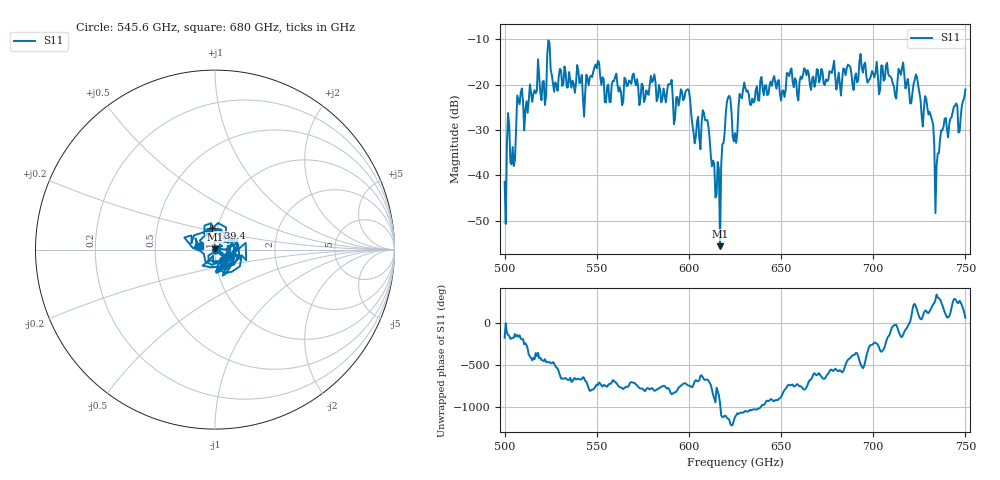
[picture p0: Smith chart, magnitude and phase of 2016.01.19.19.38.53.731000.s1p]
!Created with skrf (http://scikit-rf.org).
# GHz S RI R 50.0
!freq ReS11 ImS11
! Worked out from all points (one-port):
!   401 points, 500 GHz to 750 GHz, reference 50 ohm
!   lowest |S11| = -55.6 dB at 616.9 GHz (marker M1), VSWR 1.00, Z = 49.9 + j0.125 ohm
!   |S11| at or under -10 dB: start of sweep to end of sweep
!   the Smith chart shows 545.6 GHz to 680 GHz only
!   S11 on the Smith chart (normalised r, x): 545.6 GHz: 1.10, -0.19; 639.4 GHz: 0.94, +0.23; 680 GHz: 0.84, +0.04
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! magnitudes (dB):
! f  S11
! 500 GHz  -41.4
! 502.5 GHz  -28.9
! 504.4 GHz  -33.8
! 508.1 GHz  -24.3
! 521.2 GHz  -19.2
! 524.4 GHz  -10.9
! 527.5 GHz  -19.5
! 531.2 GHz  -20.3
! 545.6 GHz  -20.1
! 562.5 GHz  -20.6
! 593.8 GHz  -22.7
! 599.4 GHz  -21.0
! 603.1 GHz  -33.0
! 608.8 GHz  -27.8
! 615.6 GHz  -37.1
! 616.9 GHz  -55.6
! 621.2 GHz  -22.8
! 625 GHz  -30.7
! 628.8 GHz  -23.0
! 639.4 GHz  -18.3
! 656.2 GHz  -19.2
! 680 GHz  -21.1
! 687.5 GHz  -16.0
! 718.8 GHz  -18.7
! 729.4 GHz  -25.1
! 734.4 GHz  -37.8
! 738.1 GHz  -29.3
! 750 GHz  -21.0
